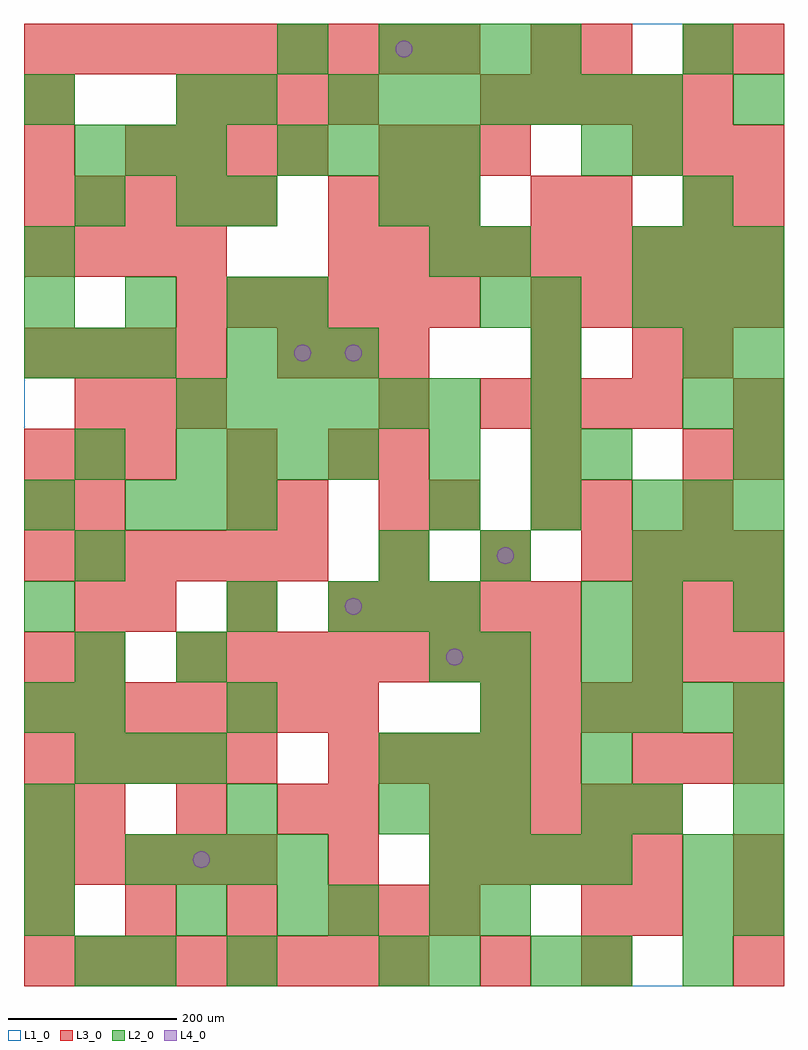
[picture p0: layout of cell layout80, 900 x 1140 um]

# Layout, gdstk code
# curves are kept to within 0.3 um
import gdstk
lib = gdstk.Library(unit=1e-6, precision=1e-09)
def R(c, l, rs):  # rectangles x0, y0, x1, y1
    for r in rs: c.add(gdstk.rectangle(r[:2], r[2:], *l))
def A(c, l, x, y, w, h, nx, ny, dx, dy):  # array of equal rectangles
    R(c, l, [(x+i*dx, y+j*dy, x+i*dx+w, y+j*dy+h) for i in range(nx) for j in range(ny)])
def P(c, l, *ps):  # polygons
    for p in ps: c.add(gdstk.Polygon(p, *l))
L1_0 = (1, 0)
L2_0 = (2, 0)
L3_0 = (3, 0)
L4_0 = (4, 0)

layout80 = lib.new_cell('layout80')
R(layout80, L1_0, [(0,0,900,1140)])
A(layout80, L2_0, 780, 0, 60, 60, 1, 3, 0, 60)
A(layout80, L2_0, 0, 60, 60, 60, 1, 3, 0, 60)
A(layout80, L2_0, 840, 60, 60, 60, 1, 4, 0, 60)
A(layout80, L2_0, 120, 120, 60, 60, 4, 1, 60, 0)
A(layout80, L2_0, 480, 120, 60, 60, 4, 1, 60, 0)
A(layout80, L2_0, 240, 180, 60, 60, 1, 3, 0, 120)
A(layout80, L2_0, 420, 180, 60, 60, 3, 2, 60, 60)
A(layout80, L2_0, 60, 240, 60, 60, 3, 2, 60, 720)
A(layout80, L2_0, 0, 300, 60, 60, 1, 3, 0, 120)
A(layout80, L2_0, 660, 300, 60, 60, 4, 1, 60, 0)
A(layout80, L2_0, 60, 360, 60, 60, 1, 3, 0, 120)
A(layout80, L2_0, 480, 360, 60, 60, 1, 3, 0, 240)
A(layout80, L2_0, 360, 420, 60, 60, 3, 1, 60, 0)
A(layout80, L2_0, 720, 480, 60, 60, 3, 2, 60, 300)
A(layout80, L2_0, 120, 540, 60, 60, 3, 1, 60, 0)
A(layout80, L2_0, 480, 540, 60, 60, 3, 1, 120, 0)
A(layout80, L2_0, 840, 540, 60, 60, 1, 4, 0, 60)
A(layout80, L2_0, 180, 600, 60, 60, 4, 1, 60, 0)
A(layout80, L2_0, 600, 600, 60, 60, 1, 4, 0, 60)
A(layout80, L2_0, 180, 660, 60, 60, 6, 1, 60, 0)
A(layout80, L2_0, 0, 720, 60, 60, 3, 1, 60, 0)
A(layout80, L2_0, 240, 720, 60, 60, 3, 1, 60, 0)
A(layout80, L2_0, 780, 720, 60, 60, 1, 3, 0, 180)
A(layout80, L2_0, 0, 780, 60, 60, 3, 1, 120, 0)
A(layout80, L2_0, 720, 840, 60, 60, 3, 1, 60, 0)
A(layout80, L2_0, 300, 960, 60, 60, 4, 1, 60, 0)
A(layout80, L2_0, 360, 1020, 60, 60, 7, 1, 60, 0)
A(layout80, L2_0, 420, 1080, 60, 60, 4, 1, 60, 0)
R(layout80, L2_0, [(60,0,120,60), (120,0,180,60), (240,0,300,60), (420,0,480,60), (480,0,540,60), (600,0,660,60), (660,0,720,60), (180,60,240,120), (300,60,360,120), (360,60,420,120), (480,60,540,120), (540,60,600,120), (660,180,720,240), (720,180,780,240), (660,240,720,300), (60,300,120,360), (540,300,600,360), (180,360,240,420), (540,360,600,420), (660,360,720,420), (720,360,780,420), (660,420,720,480), (720,420,780,480), (840,420,900,480), (420,480,480,540), (540,480,600,540), (780,540,840,600), (660,600,720,660), (780,660,840,720), (300,780,360,840), (540,780,600,840), (0,840,60,900), (540,840,600,900), (60,900,120,960), (180,900,240,960), (240,900,300,960), (420,900,480,960), (480,900,540,960), (660,960,720,1020), (720,960,780,1020), (0,1020,60,1080), (180,1020,240,1080), (240,1020,300,1080), (840,1020,900,1080), (300,1080,360,1140)])
A(layout80, L3_0, 0, 0, 60, 60, 8, 1, 60, 0)
A(layout80, L3_0, 840, 0, 60, 60, 1, 3, 0, 60)
A(layout80, L3_0, 0, 60, 60, 60, 4, 1, 120, 0)
A(layout80, L3_0, 0, 120, 60, 60, 5, 2, 60, 120)
A(layout80, L3_0, 480, 120, 60, 60, 5, 2, 60, 60)
A(layout80, L3_0, 0, 180, 60, 60, 1, 3, 0, 180)
A(layout80, L3_0, 60, 180, 60, 60, 3, 1, 120, 0)
A(layout80, L3_0, 360, 240, 60, 60, 5, 1, 60, 0)
A(layout80, L3_0, 720, 240, 60, 60, 3, 2, 60, 120)
A(layout80, L3_0, 0, 300, 60, 60, 7, 1, 60, 0)
A(layout80, L3_0, 540, 300, 60, 60, 4, 2, 60, 360)
A(layout80, L3_0, 180, 360, 60, 60, 8, 1, 60, 0)
A(layout80, L3_0, 120, 420, 60, 60, 3, 1, 120, 0)
A(layout80, L3_0, 420, 420, 60, 60, 4, 1, 60, 0)
A(layout80, L3_0, 720, 420, 60, 60, 3, 2, 60, 60)
A(layout80, L3_0, 0, 480, 60, 60, 6, 1, 60, 0)
A(layout80, L3_0, 420, 480, 60, 60, 3, 1, 120, 0)
A(layout80, L3_0, 600, 540, 60, 60, 1, 4, 0, 180)
A(layout80, L3_0, 780, 540, 60, 60, 1, 4, 0, 180)
A(layout80, L3_0, 0, 600, 60, 60, 3, 1, 60, 0)
A(layout80, L3_0, 420, 600, 60, 60, 3, 1, 180, 0)
A(layout80, L3_0, 60, 660, 60, 60, 3, 1, 60, 0)
A(layout80, L3_0, 0, 720, 60, 60, 4, 2, 60, 120)
A(layout80, L3_0, 300, 720, 60, 60, 3, 1, 60, 0)
A(layout80, L3_0, 180, 780, 60, 60, 6, 1, 60, 0)
A(layout80, L3_0, 600, 780, 60, 60, 5, 1, 60, 0)
A(layout80, L3_0, 360, 840, 60, 60, 9, 1, 60, 0)
A(layout80, L3_0, 0, 900, 60, 60, 5, 1, 60, 0)
A(layout80, L3_0, 360, 900, 60, 60, 3, 1, 60, 0)
A(layout80, L3_0, 120, 960, 60, 60, 4, 1, 60, 0)
A(layout80, L3_0, 420, 960, 60, 60, 3, 1, 60, 0)
A(layout80, L3_0, 720, 960, 60, 60, 3, 1, 60, 0)
A(layout80, L3_0, 180, 1020, 60, 60, 4, 1, 60, 0)
A(layout80, L3_0, 540, 1020, 60, 60, 5, 1, 60, 0)
A(layout80, L3_0, 0, 1080, 60, 60, 9, 1, 60, 0)
R(layout80, L3_0, [(540,0,600,60), (660,0,720,60), (420,60,480,120), (480,60,540,120), (660,60,720,120), (720,60,780,120), (360,120,420,180), (360,180,420,240), (840,300,900,360), (60,360,120,420), (60,420,120,480), (60,540,120,600), (240,540,300,600), (300,540,360,600), (420,540,480,600), (480,540,540,600), (660,540,720,600), (240,600,300,660), (360,600,420,660), (840,600,900,660), (420,660,480,720), (840,660,900,720), (720,720,780,780), (660,900,720,960), (840,900,900,960), (0,960,60,1020), (0,1020,60,1080), (660,1080,720,1140), (840,1080,900,1140)])
P(layout80, L4_0, [(220,150),(219.239,153.827),(217.071,157.071),(213.827,159.239),(210,160),(206.173,159.239),(202.929,157.071),(200.761,153.827),(200,150),(200.761,146.173),(202.929,142.929),(206.173,140.761),(210,140),(213.827,140.761),(217.071,142.929),(219.239,146.173)],
  [(340,750),(339.239,753.827),(337.071,757.071),(333.827,759.239),(330,760),(326.173,759.239),(322.929,757.071),(320.761,753.827),(320,750),(320.761,746.173),(322.929,742.929),(326.173,740.761),(330,740),(333.827,740.761),(337.071,742.929),(339.239,746.173)],
  [(400,450),(399.239,453.827),(397.071,457.071),(393.827,459.239),(390,460),(386.173,459.239),(382.929,457.071),(380.761,453.827),(380,450),(380.761,446.173),(382.929,442.929),(386.173,440.761),(390,440),(393.827,440.761),(397.071,442.929),(399.239,446.173)],
  [(400,750),(399.239,753.827),(397.071,757.071),(393.827,759.239),(390,760),(386.173,759.239),(382.929,757.071),(380.761,753.827),(380,750),(380.761,746.173),(382.929,742.929),(386.173,740.761),(390,740),(393.827,740.761),(397.071,742.929),(399.239,746.173)],
  [(460,1110),(459.239,1113.827),(457.071,1117.071),(453.827,1119.239),(450,1120),(446.173,1119.239),(442.929,1117.071),(440.761,1113.827),(440,1110),(440.761,1106.173),(442.929,1102.929),(446.173,1100.761),(450,1100),(453.827,1100.761),(457.071,1102.929),(459.239,1106.173)],
  [(520,390),(519.239,393.827),(517.071,397.071),(513.827,399.239),(510,400),(506.173,399.239),(502.929,397.071),(500.761,393.827),(500,390),(500.761,386.173),(502.929,382.929),(506.173,380.761),(510,380),(513.827,380.761),(517.071,382.929),(519.239,386.173)],
  [(580,510),(579.239,513.827),(577.071,517.071),(573.827,519.239),(570,520),(566.173,519.239),(562.929,517.071),(560.761,513.827),(560,510),(560.761,506.173),(562.929,502.929),(566.173,500.761),(570,500),(573.827,500.761),(577.071,502.929),(579.239,506.173)])

lib.write_gds('layout80.gds')
